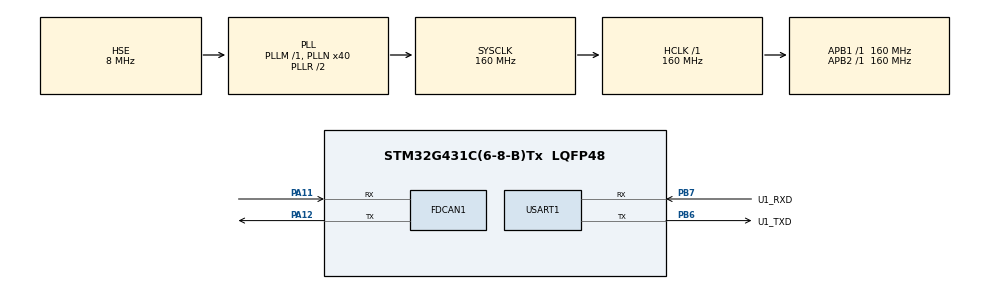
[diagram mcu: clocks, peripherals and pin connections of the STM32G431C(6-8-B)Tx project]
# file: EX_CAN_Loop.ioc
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FDCAN1.CalculateBaudRateNominal=500000
FDCAN1.CalculateTimeBitNominal=2000
FDCAN1.CalculateTimeQuantumNominal=100.0
FDCAN1.ClockDivider=FDCAN_CLOCK_DIV2
FDCAN1.FrameFormat=FDCAN_FRAME_FD_BRS
FDCAN1.Mode=FDCAN_MODE_INTERNAL_LOOPBACK
FDCAN1.NominalPrescaler=8
FDCAN1.NominalTimeSeg1=13
FDCAN1.NominalTimeSeg2=6
Mcu.Family=STM32G4
Mcu.Name=STM32G431C(6-8-B)Tx
Mcu.Package=LQFP48
NVIC.FDCAN1_IT0_IRQn=true\:0\:0\:false\:false\:true\:true\:true\:true
NVIC.FDCAN1_IT1_IRQn=true\:0\:0\:false\:false\:true\:true\:true\:true
NVIC.PriorityGroup=NVIC_PRIORITYGROUP_4
PA11.Mode=FDCAN_Activate
PA11.Signal=FDCAN1_RX
PA12.Mode=FDCAN_Activate
PA12.Signal=FDCAN1_TX
PB6.GPIO_Label=U1_TXD
PB6.Mode=Asynchronous
PB6.Signal=USART1_TX
PB7.GPIO_Label=U1_RXD
PB7.Mode=Asynchronous
PB7.Signal=USART1_RX
PF0-OSC_IN.Mode=HSE-External-Oscillator
PF0-OSC_IN.Signal=RCC_OSC_IN
PF1-OSC_OUT.Mode=HSE-External-Oscillator
PF1-OSC_OUT.Signal=RCC_OSC_OUT
ProjectManager.HeapSize=0x200
ProjectManager.StackSize=0x400
ProjectManager.TargetToolchain=STM32CubeIDE
RCC.ADC12Freq_Value=160000000
RCC.AHBFreq_Value=160000000
RCC.APB1Freq_Value=160000000
RCC.APB1TimFreq_Value=160000000
RCC.APB2Freq_Value=160000000
RCC.APB2TimFreq_Value=160000000
RCC.CortexFreq_Value=160000000
RCC.EXTERNAL_CLOCK_VALUE=12288000
RCC.HCLKFreq_Value=160000000
RCC.HSE_VALUE=8000000
RCC.HSI48_VALUE=48000000
RCC.HSI_VALUE=16000000
RCC.LSE_VALUE=32768
RCC.PLLN=40
RCC.PLLSourceVirtual=RCC_PLLSOURCE_HSE
RCC.SYSCLKFreq_VALUE=160000000
RCC.SYSCLKSource=RCC_SYSCLKSOURCE_PLLCLK
RCC.USBFreq_Value=160000000
RCC.VCOOutputFreq_Value=320000000
USART1.VirtualMode-Asynchronous=VM_ASYNC
VP_SYS_VS_DBSignals.Mode=DisableDeadBatterySignals
board=custom

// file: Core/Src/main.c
/* USER CODE BEGIN Header */
/**
 ******************************************************************************
 * @file           : main.c
 * @brief          : Main program body
 ******************************************************************************
 * @attention
 *
 * Copyright (c) 2025 STMicroelectronics.
 * All rights reserved.
 *
 * This software is licensed under terms that can be found in the LICENSE file
 * in the root directory of this software component.
 * If no LICENSE file comes with this software, it is provided AS-IS.
 *
 ******************************************************************************
 */

/**
 *
 *  @brief CAN 통신을 이해하고, UART로 메시지 전송 , 수신을 확인해보는 예제입니다.
 *
 */
/* USER CODE END Header */
#include "main.h"
#include "fdcan.h"
#include "usart.h"
#include "gpio.h"

/* USER CODE BEGIN PV */

FDCAN_TxHeaderTypeDef txHeader; // CAN 메시지를 담을 봉투
FDCAN_RxHeaderTypeDef rxHeader;

uint8_t can_tx[8] = {'H', 'E', 'L', 'L', 'O', 0, 0, 0}; // CAN 메시지의 내용
uint8_t can_rx[8];

/* USER CODE END PV */

void SystemClock_Config(void);

/* USER CODE BEGIN 0 */

/**
 * @brief printf 함수를 사용하기 위한 함수.
 */

int __io_putchar(int ch)
{
  (void)HAL_UART_Transmit(&huart1, (uint8_t *)&ch, 1, 100);
  return ch;
}

/**
 * @brief CAN 초기화 및 시작
 */
void fdcanInit(void)
{

  // 특정한 CAN_id 값으로 전송된 메시지만을 수신하기 위해 필터를 설정합니다.
  FDCAN_FilterTypeDef sFilterConfig =
      {0};
  sFilterConfig.IdType = FDCAN_STANDARD_ID;
  sFilterConfig.FilterIndex = 0;
  sFilterConfig.FilterType = FDCAN_FILTER_MASK;
  sFilterConfig.FilterConfig = FDCAN_FILTER_TO_RXFIFO0;
  sFilterConfig.FilterID1 = 0x500; // 필터링 할 CAN_id
  sFilterConfig.FilterID2 = 0x7FF; // 11비트 모두 비교 = 정확 일치
  if (HAL_FDCAN_ConfigFilter(&hfdcan1, &sFilterConfig) != HAL_OK)
  {
    Error_Handler();
  }

  // CAN 실행
  HAL_StatusTypeDef result = HAL_FDCAN_Start(&hfdcan1);
  if (result != HAL_OK)
  {
    printf("FDCAN Start 실패\r\n");
  }

  HAL_FDCAN_ActivateNotification(&hfdcan1,
                                 FDCAN_IT_RX_FIFO0_NEW_MESSAGE, 0);
  if (result != HAL_OK)
  {
    printf("FDCAN Notification 등록 실패\r\n");
  }
}

/**
 * @brief CAN 메시지 송신
 */
void fdcanSend(void)
{
  txHeader.Identifier = 0x500; // 전송할때 같이 보내는 CAN_id
  txHeader.IdType = FDCAN_STANDARD_ID;
  txHeader.TxFrameType = FDCAN_DATA_FRAME;
  txHeader.DataLength = FDCAN_DLC_BYTES_8;
  txHeader.ErrorStateIndicator = FDCAN_ESI_ACTIVE;
  txHeader.BitRateSwitch = FDCAN_BRS_OFF;
  txHeader.FDFormat = FDCAN_CLASSIC_CAN;
  txHeader.TxEventFifoControl = FDCAN_NO_TX_EVENTS;
  txHeader.MessageMarker = 0;

  HAL_FDCAN_AddMessageToTxFifoQ(&hfdcan1, &txHeader, can_tx); // 보내기!!
}

/* USER CODE END 0 */

int main(void)
{

  /* MCU Configuration--------------------------------------------------------*/

  /* Reset of all peripherals, Initializes the Flash interface and the Systick. */
  HAL_Init();

  /* Configure the system clock */
  SystemClock_Config();

  /* Initialize all configured peripherals */
  MX_GPIO_Init();
  MX_USART1_UART_Init();
  MX_FDCAN1_Init();
  /* USER CODE BEGIN 2 */
  fdcanInit();
  fdcanSend();

  /* USER CODE END 2 */

  /* Infinite loop */
  while (1)
  {

  }
}

void SystemClock_Config(void)
{
  RCC_OscInitTypeDef RCC_OscInitStruct = {0};
  RCC_ClkInitTypeDef RCC_ClkInitStruct = {0};

  /** Configure the main internal regulator output voltage
   */
  HAL_PWREx_ControlVoltageScaling(PWR_REGULATOR_VOLTAGE_SCALE1_BOOST);

  /** Initializes the RCC Oscillators according to the specified parameters
   * in the RCC_OscInitTypeDef structure.
   */
  RCC_OscInitStruct.OscillatorType = RCC_OSCILLATORTYPE_HSE;
  RCC_OscInitStruct.HSEState = RCC_HSE_ON;
  RCC_OscInitStruct.PLL.PLLState = RCC_PLL_ON;
  RCC_OscInitStruct.PLL.PLLSource = RCC_PLLSOURCE_HSE;
  RCC_OscInitStruct.PLL.PLLM = RCC_PLLM_DIV1;
  RCC_OscInitStruct.PLL.PLLN = 40;
  RCC_OscInitStruct.PLL.PLLP = RCC_PLLP_DIV2;
  RCC_OscInitStruct.PLL.PLLQ = RCC_PLLQ_DIV2;
  RCC_OscInitStruct.PLL.PLLR = RCC_PLLR_DIV2;
  if (HAL_RCC_OscConfig(&RCC_OscInitStruct) != HAL_OK)
  {
    Error_Handler();
  }

  /** Initializes the CPU, AHB and APB buses clocks
   */
  RCC_ClkInitStruct.ClockType = RCC_CLOCKTYPE_HCLK | RCC_CLOCKTYPE_SYSCLK | RCC_CLOCKTYPE_PCLK1 | RCC_CLOCKTYPE_PCLK2;
  RCC_ClkInitStruct.SYSCLKSource = RCC_SYSCLKSOURCE_PLLCLK;
  RCC_ClkInitStruct.AHBCLKDivider = RCC_SYSCLK_DIV1;
  RCC_ClkInitStruct.APB1CLKDivider = RCC_HCLK_DIV1;
  RCC_ClkInitStruct.APB2CLKDivider = RCC_HCLK_DIV1;

  if (HAL_RCC_ClockConfig(&RCC_ClkInitStruct, FLASH_LATENCY_4) != HAL_OK)
  {
    Error_Handler();
  }
}

/* USER CODE BEGIN 4 */

/**
 * @brief CAN 수신 콜백함수 추가
 */
void HAL_FDCAN_RxFifo0Callback(FDCAN_HandleTypeDef *hfdcan, uint32_t RxFifo0ITs)
{

  if (RxFifo0ITs & FDCAN_IT_RX_FIFO0_NEW_MESSAGE)
  {
    HAL_FDCAN_GetRxMessage(hfdcan, FDCAN_RX_FIFO0, &rxHeader, can_rx);
    printf("CAN Message Alived!!\r\n");
  }
}
/* USER CODE END 4 */

void Error_Handler(void)
{
  __disable_irq();
  while (1)
  {
  }
}
